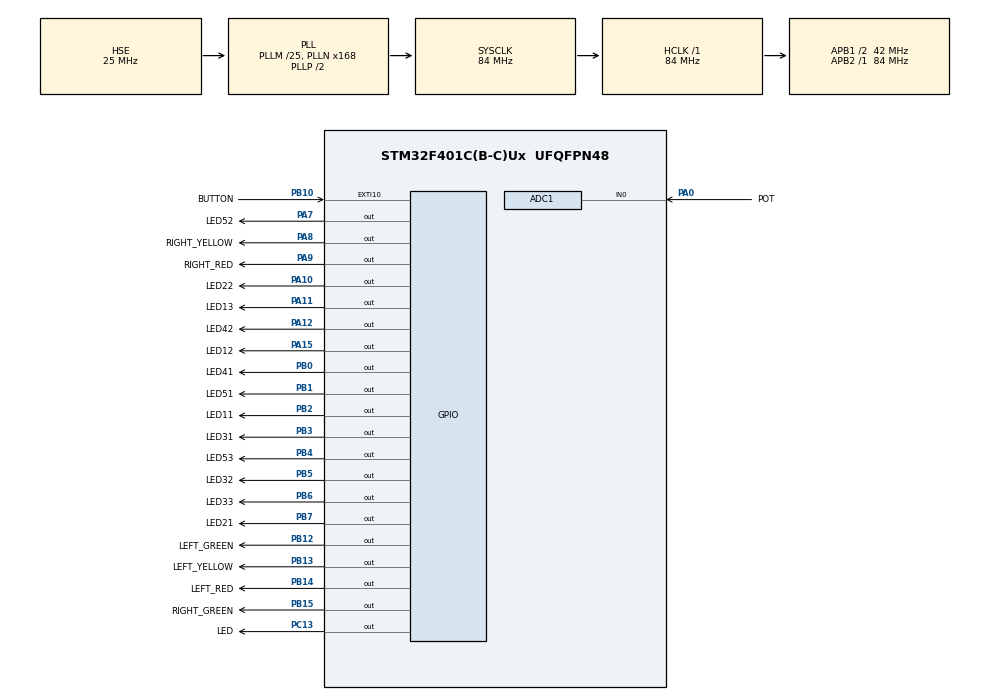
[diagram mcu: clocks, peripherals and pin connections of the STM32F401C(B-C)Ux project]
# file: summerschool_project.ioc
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ADC1.Channel-0\#ChannelRegularConversion=ADC_CHANNEL_0
ADC1.ContinuousConvMode=ENABLE
ADC1.NbrOfConversionFlag=1
ADC1.Rank-0\#ChannelRegularConversion=1
ADC1.SamplingTime-0\#ChannelRegularConversion=ADC_SAMPLETIME_3CYCLES
ADC1.master=1
Mcu.Family=STM32F4
Mcu.Name=STM32F401C(B-C)Ux
Mcu.Package=UFQFPN48
NVIC.EXTI15_10_IRQn=true\:0\:0\:false\:false\:true\:true\:true\:true
NVIC.PriorityGroup=NVIC_PRIORITYGROUP_4
NVIC.TIM1_BRK_TIM9_IRQn=true\:0\:0\:false\:false\:true\:true\:true\:true
PA0-WKUP.GPIO_Label=POT
PA0-WKUP.Signal=ADCx_IN0
PA10.GPIO_Label=LED22
PA10.PinState=GPIO_PIN_SET
PA10.Signal=GPIO_Output
PA11.GPIO_Label=LED13
PA11.PinState=GPIO_PIN_SET
PA11.Signal=GPIO_Output
PA12.GPIO_Label=LED42
PA12.PinState=GPIO_PIN_SET
PA12.Signal=GPIO_Output
PA15.GPIO_Label=LED12
PA15.PinState=GPIO_PIN_SET
PA15.Signal=GPIO_Output
PA7.GPIO_Label=LED52
PA7.PinState=GPIO_PIN_SET
PA7.Signal=GPIO_Output
PA8.GPIO_Label=RIGHT_YELLOW
PA8.PinState=GPIO_PIN_SET
PA8.Signal=GPIO_Output
PA9.GPIO_Label=RIGHT_RED
PA9.PinState=GPIO_PIN_SET
PA9.Signal=GPIO_Output
PB0.GPIO_Label=LED41
PB0.PinState=GPIO_PIN_SET
PB0.Signal=GPIO_Output
PB1.GPIO_Label=LED51
PB1.PinState=GPIO_PIN_SET
PB1.Signal=GPIO_Output
PB10.GPIO_Label=BUTTON
PB10.GPIO_ModeDefaultEXTI=GPIO_MODE_IT_RISING
PB10.Signal=GPXTI10
PB12.GPIO_Label=LEFT_GREEN
PB12.PinState=GPIO_PIN_SET
PB12.Signal=GPIO_Output
PB13.GPIO_Label=LEFT_YELLOW
PB13.PinState=GPIO_PIN_SET
PB13.Signal=GPIO_Output
PB14.GPIO_Label=LEFT_RED
PB14.PinState=GPIO_PIN_SET
PB14.Signal=GPIO_Output
PB15.GPIO_Label=RIGHT_GREEN
PB15.PinState=GPIO_PIN_SET
PB15.Signal=GPIO_Output
PB2.GPIO_Label=LED11
PB2.PinState=GPIO_PIN_SET
PB2.Signal=GPIO_Output
PB3.GPIO_Label=LED31
PB3.PinState=GPIO_PIN_SET
PB3.Signal=GPIO_Output
PB4.GPIO_Label=LED53
PB4.PinState=GPIO_PIN_SET
PB4.Signal=GPIO_Output
PB5.GPIO_Label=LED32
PB5.PinState=GPIO_PIN_SET
PB5.Signal=GPIO_Output
PB6.GPIO_Label=LED33
PB6.PinState=GPIO_PIN_SET
PB6.Signal=GPIO_Output
PB7.GPIO_Label=LED21
PB7.PinState=GPIO_PIN_SET
PB7.Signal=GPIO_Output
PC13-ANTI_TAMP.GPIO_Label=LED
PC13-ANTI_TAMP.PinState=GPIO_PIN_SET
PC13-ANTI_TAMP.Signal=GPIO_Output
PH0\ -\ OSC_IN.Mode=HSE-External-Oscillator
PH0\ -\ OSC_IN.Signal=RCC_OSC_IN
PH1\ -\ OSC_OUT.Mode=HSE-External-Oscillator
PH1\ -\ OSC_OUT.Signal=RCC_OSC_OUT
ProjectManager.HeapSize=0x200
ProjectManager.StackSize=0x400
ProjectManager.TargetToolchain=STM32CubeIDE
RCC.48MHZClocksFreq_Value=42000000
RCC.AHBFreq_Value=84000000
RCC.APB1CLKDivider=RCC_HCLK_DIV2
RCC.APB1Freq_Value=42000000
RCC.APB1TimFreq_Value=84000000
RCC.APB2Freq_Value=84000000
RCC.APB2TimFreq_Value=84000000
RCC.CortexFreq_Value=84000000
RCC.HCLKFreq_Value=84000000
RCC.HSE_VALUE=25000000
RCC.HSI_VALUE=16000000
RCC.LSE_VALUE=32768
RCC.PLLM=25
RCC.PLLN=168
RCC.PLLSourceVirtual=RCC_PLLSOURCE_HSE
RCC.SYSCLKFreq_VALUE=84000000
RCC.SYSCLKSource=RCC_SYSCLKSOURCE_PLLCLK
RCC.VCOOutputFreq_Value=168000000
SH.ADCx_IN0.0=ADC1_IN0,IN0
TIM9.AutoReloadPreload=TIM_AUTORELOAD_PRELOAD_ENABLE
TIM9.Period=500
TIM9.Prescaler=83
VP_TIM9_VS_ClockSourceINT.Mode=Internal
board=custom

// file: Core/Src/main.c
/* USER CODE BEGIN Header */
/**
  ******************************************************************************
  * @file           : main.c
  * @brief          : Main program body
  ******************************************************************************
  * @attention
  *
  * Copyright (c) 2022 STMicroelectronics.
  * All rights reserved.
  *
  * This software is licensed under terms that can be found in the LICENSE file
  * in the root directory of this software component.
  * If no LICENSE file comes with this software, it is provided AS-IS.
  *
  ******************************************************************************
  */
/* USER CODE END Header */
#include "main.h"

ADC_HandleTypeDef hadc1;

TIM_HandleTypeDef htim9;

void SystemClock_Config(void);
static void MX_GPIO_Init(void);
static void MX_ADC1_Init(void);
static void MX_TIM9_Init(void);

/* USER CODE BEGIN 0 */
void zero(){
	HAL_GPIO_WritePin(LED11_GPIO_Port, LED11_Pin, GPIO_PIN_RESET);
	HAL_GPIO_WritePin(LED12_GPIO_Port, LED12_Pin, GPIO_PIN_RESET);
	HAL_GPIO_WritePin(LED13_GPIO_Port, LED13_Pin, GPIO_PIN_RESET);
	HAL_GPIO_WritePin(LED21_GPIO_Port, LED21_Pin, GPIO_PIN_RESET);
	HAL_GPIO_WritePin(LED22_GPIO_Port, LED22_Pin, GPIO_PIN_RESET);
	HAL_GPIO_WritePin(LED31_GPIO_Port, LED31_Pin, GPIO_PIN_RESET);
	HAL_GPIO_WritePin(LED33_GPIO_Port, LED33_Pin, GPIO_PIN_RESET);
	HAL_GPIO_WritePin(LED41_GPIO_Port, LED41_Pin, GPIO_PIN_RESET);
	HAL_GPIO_WritePin(LED42_GPIO_Port, LED42_Pin, GPIO_PIN_RESET);
	HAL_GPIO_WritePin(LED51_GPIO_Port, LED51_Pin, GPIO_PIN_RESET);
	HAL_GPIO_WritePin(LED52_GPIO_Port, LED52_Pin, GPIO_PIN_RESET);
	HAL_GPIO_WritePin(LED53_GPIO_Port, LED53_Pin, GPIO_PIN_RESET);
	HAL_Delay(2000);
	HAL_GPIO_WritePin(LED11_GPIO_Port, LED11_Pin, GPIO_PIN_SET);
	HAL_GPIO_WritePin(LED12_GPIO_Port, LED12_Pin, GPIO_PIN_SET);
	HAL_GPIO_WritePin(LED13_GPIO_Port, LED13_Pin, GPIO_PIN_SET);
	HAL_GPIO_WritePin(LED21_GPIO_Port, LED21_Pin, GPIO_PIN_SET);
	HAL_GPIO_WritePin(LED22_GPIO_Port, LED22_Pin, GPIO_PIN_SET);
	HAL_GPIO_WritePin(LED31_GPIO_Port, LED31_Pin, GPIO_PIN_SET);
	HAL_GPIO_WritePin(LED33_GPIO_Port, LED33_Pin, GPIO_PIN_SET);
	HAL_GPIO_WritePin(LED41_GPIO_Port, LED41_Pin, GPIO_PIN_SET);
	HAL_GPIO_WritePin(LED42_GPIO_Port, LED42_Pin, GPIO_PIN_SET);
	HAL_GPIO_WritePin(LED51_GPIO_Port, LED51_Pin, GPIO_PIN_SET);
	HAL_GPIO_WritePin(LED52_GPIO_Port, LED52_Pin, GPIO_PIN_SET);
	HAL_GPIO_WritePin(LED53_GPIO_Port, LED53_Pin, GPIO_PIN_SET);
}
void one(){
	HAL_GPIO_WritePin(LED13_GPIO_Port, LED13_Pin, GPIO_PIN_RESET);
	HAL_GPIO_WritePin(LED13_GPIO_Port, LED22_Pin, GPIO_PIN_RESET);
	HAL_GPIO_WritePin(LED33_GPIO_Port, LED33_Pin, GPIO_PIN_RESET);
	HAL_GPIO_WritePin(LED42_GPIO_Port, LED42_Pin, GPIO_PIN_RESET);
	HAL_GPIO_WritePin(LED53_GPIO_Port, LED53_Pin, GPIO_PIN_RESET);
	HAL_Delay(2000);
	HAL_GPIO_WritePin(LED13_GPIO_Port, LED13_Pin, GPIO_PIN_SET);
	HAL_GPIO_WritePin(LED13_GPIO_Port, LED22_Pin, GPIO_PIN_SET);
	HAL_GPIO_WritePin(LED33_GPIO_Port, LED33_Pin, GPIO_PIN_SET);
	HAL_GPIO_WritePin(LED42_GPIO_Port, LED42_Pin, GPIO_PIN_SET);
	HAL_GPIO_WritePin(LED53_GPIO_Port, LED53_Pin, GPIO_PIN_SET);
}
void two(){
	HAL_GPIO_WritePin(LED11_GPIO_Port, LED11_Pin, GPIO_PIN_RESET);
	HAL_GPIO_WritePin(LED12_GPIO_Port, LED12_Pin, GPIO_PIN_RESET);
	HAL_GPIO_WritePin(LED13_GPIO_Port, LED13_Pin, GPIO_PIN_RESET);
	HAL_GPIO_WritePin(LED22_GPIO_Port, LED22_Pin, GPIO_PIN_RESET);
	HAL_GPIO_WritePin(LED31_GPIO_Port, LED31_Pin, GPIO_PIN_RESET);
	HAL_GPIO_WritePin(LED32_GPIO_Port, LED32_Pin, GPIO_PIN_RESET);
	HAL_GPIO_WritePin(LED33_GPIO_Port, LED33_Pin, GPIO_PIN_RESET);
	HAL_GPIO_WritePin(LED41_GPIO_Port, LED41_Pin, GPIO_PIN_RESET);
	HAL_GPIO_WritePin(LED51_GPIO_Port, LED51_Pin, GPIO_PIN_RESET);
	HAL_GPIO_WritePin(LED52_GPIO_Port, LED52_Pin, GPIO_PIN_RESET);
	HAL_GPIO_WritePin(LED53_GPIO_Port, LED53_Pin, GPIO_PIN_RESET);
	HAL_Delay(2000);
	HAL_GPIO_WritePin(LED11_GPIO_Port, LED11_Pin, GPIO_PIN_SET);
	HAL_GPIO_WritePin(LED12_GPIO_Port, LED12_Pin, GPIO_PIN_SET);
	HAL_GPIO_WritePin(LED13_GPIO_Port, LED13_Pin, GPIO_PIN_SET);
	HAL_GPIO_WritePin(LED22_GPIO_Port, LED22_Pin, GPIO_PIN_SET);
	HAL_GPIO_WritePin(LED31_GPIO_Port, LED31_Pin, GPIO_PIN_SET);
	HAL_GPIO_WritePin(LED32_GPIO_Port, LED32_Pin, GPIO_PIN_SET);
	HAL_GPIO_WritePin(LED33_GPIO_Port, LED33_Pin, GPIO_PIN_SET);
	HAL_GPIO_WritePin(LED41_GPIO_Port, LED41_Pin, GPIO_PIN_SET);
	HAL_GPIO_WritePin(LED51_GPIO_Port, LED51_Pin, GPIO_PIN_SET);
	HAL_GPIO_WritePin(LED52_GPIO_Port, LED52_Pin, GPIO_PIN_SET);
	HAL_GPIO_WritePin(LED53_GPIO_Port, LED53_Pin, GPIO_PIN_SET);
}
void tree(){
	HAL_GPIO_WritePin(LED11_GPIO_Port, LED11_Pin, GPIO_PIN_RESET);
	HAL_GPIO_WritePin(LED12_GPIO_Port, LED12_Pin, GPIO_PIN_RESET);
	HAL_GPIO_WritePin(LED13_GPIO_Port, LED13_Pin, GPIO_PIN_RESET);
	HAL_GPIO_WritePin(LED22_GPIO_Port, LED22_Pin, GPIO_PIN_RESET);
	HAL_GPIO_WritePin(LED31_GPIO_Port, LED31_Pin, GPIO_PIN_RESET);
	HAL_GPIO_WritePin(LED32_GPIO_Port, LED32_Pin, GPIO_PIN_RESET);
	HAL_GPIO_WritePin(LED33_GPIO_Port, LED33_Pin, GPIO_PIN_RESET);
	HAL_GPIO_WritePin(LED42_GPIO_Port, LED42_Pin, GPIO_PIN_RESET);
	HAL_GPIO_WritePin(LED51_GPIO_Port, LED51_Pin, GPIO_PIN_RESET);
	HAL_GPIO_WritePin(LED52_GPIO_Port, LED52_Pin, GPIO_PIN_RESET);
	HAL_GPIO_WritePin(LED53_GPIO_Port, LED53_Pin, GPIO_PIN_RESET);
	HAL_Delay(2000);
	HAL_GPIO_WritePin(LED11_GPIO_Port, LED11_Pin, GPIO_PIN_SET);
	HAL_GPIO_WritePin(LED12_GPIO_Port, LED12_Pin, GPIO_PIN_SET);
	HAL_GPIO_WritePin(LED13_GPIO_Port, LED13_Pin, GPIO_PIN_SET);
	HAL_GPIO_WritePin(LED22_GPIO_Port, LED22_Pin, GPIO_PIN_SET);
	HAL_GPIO_WritePin(LED31_GPIO_Port, LED31_Pin, GPIO_PIN_SET);
	HAL_GPIO_WritePin(LED32_GPIO_Port, LED32_Pin, GPIO_PIN_SET);
	HAL_GPIO_WritePin(LED33_GPIO_Port, LED33_Pin, GPIO_PIN_SET);
	HAL_GPIO_WritePin(LED42_GPIO_Port, LED42_Pin, GPIO_PIN_SET);
	HAL_GPIO_WritePin(LED51_GPIO_Port, LED51_Pin, GPIO_PIN_SET);
	HAL_GPIO_WritePin(LED52_GPIO_Port, LED52_Pin, GPIO_PIN_SET);
	HAL_GPIO_WritePin(LED53_GPIO_Port, LED53_Pin, GPIO_PIN_SET);
}
void four(){
	HAL_GPIO_WritePin(LED11_GPIO_Port, LED11_Pin, GPIO_PIN_RESET);
	HAL_GPIO_WritePin(LED13_GPIO_Port, LED13_Pin, GPIO_PIN_RESET);
	HAL_GPIO_WritePin(LED21_GPIO_Port, LED21_Pin, GPIO_PIN_RESET);
	HAL_GPIO_WritePin(LED22_GPIO_Port, LED22_Pin, GPIO_PIN_RESET);
	HAL_GPIO_WritePin(LED31_GPIO_Port, LED31_Pin, GPIO_PIN_RESET);
	HAL_GPIO_WritePin(LED32_GPIO_Port, LED32_Pin, GPIO_PIN_RESET);
	HAL_GPIO_WritePin(LED33_GPIO_Port, LED33_Pin, GPIO_PIN_RESET);
	HAL_GPIO_WritePin(LED42_GPIO_Port, LED42_Pin, GPIO_PIN_RESET);
	HAL_GPIO_WritePin(LED53_GPIO_Port, LED53_Pin, GPIO_PIN_RESET);
	HAL_Delay(2000);
	HAL_GPIO_WritePin(LED11_GPIO_Port, LED11_Pin, GPIO_PIN_SET);
	HAL_GPIO_WritePin(LED13_GPIO_Port, LED13_Pin, GPIO_PIN_SET);
	HAL_GPIO_WritePin(LED21_GPIO_Port, LED21_Pin, GPIO_PIN_SET);
	HAL_GPIO_WritePin(LED22_GPIO_Port, LED22_Pin, GPIO_PIN_SET);
	HAL_GPIO_WritePin(LED31_GPIO_Port, LED31_Pin, GPIO_PIN_SET);
	HAL_GPIO_WritePin(LED32_GPIO_Port, LED32_Pin, GPIO_PIN_SET);
	HAL_GPIO_WritePin(LED33_GPIO_Port, LED33_Pin, GPIO_PIN_SET);
	HAL_GPIO_WritePin(LED42_GPIO_Port, LED42_Pin, GPIO_PIN_SET);
	HAL_GPIO_WritePin(LED53_GPIO_Port, LED53_Pin, GPIO_PIN_SET);
}
void five(){
	HAL_GPIO_WritePin(LED11_GPIO_Port, LED11_Pin, GPIO_PIN_RESET);
	HAL_GPIO_WritePin(LED12_GPIO_Port, LED12_Pin, GPIO_PIN_RESET);
	HAL_GPIO_WritePin(LED13_GPIO_Port, LED13_Pin, GPIO_PIN_RESET);
	HAL_GPIO_WritePin(LED21_GPIO_Port, LED21_Pin, GPIO_PIN_RESET);
	HAL_GPIO_WritePin(LED31_GPIO_Port, LED31_Pin, GPIO_PIN_RESET);
	HAL_GPIO_WritePin(LED32_GPIO_Port, LED32_Pin, GPIO_PIN_RESET);
	HAL_GPIO_WritePin(LED33_GPIO_Port, LED33_Pin, GPIO_PIN_RESET);
	HAL_GPIO_WritePin(LED42_GPIO_Port, LED42_Pin, GPIO_PIN_RESET);
	HAL_GPIO_WritePin(LED51_GPIO_Port, LED51_Pin, GPIO_PIN_RESET);
	HAL_GPIO_WritePin(LED52_GPIO_Port, LED52_Pin, GPIO_PIN_RESET);
	HAL_GPIO_WritePin(LED53_GPIO_Port, LED53_Pin, GPIO_PIN_RESET);
	HAL_Delay(2000);
	HAL_GPIO_WritePin(LED11_GPIO_Port, LED11_Pin, GPIO_PIN_SET);
	HAL_GPIO_WritePin(LED12_GPIO_Port, LED12_Pin, GPIO_PIN_SET);
	HAL_GPIO_WritePin(LED13_GPIO_Port, LED13_Pin, GPIO_PIN_SET);
	HAL_GPIO_WritePin(LED21_GPIO_Port, LED21_Pin, GPIO_PIN_SET);
	HAL_GPIO_WritePin(LED31_GPIO_Port, LED31_Pin, GPIO_PIN_SET);
	HAL_GPIO_WritePin(LED32_GPIO_Port, LED32_Pin, GPIO_PIN_SET);
	HAL_GPIO_WritePin(LED33_GPIO_Port, LED33_Pin, GPIO_PIN_SET);
	HAL_GPIO_WritePin(LED42_GPIO_Port, LED42_Pin, GPIO_PIN_SET);
	HAL_GPIO_WritePin(LED51_GPIO_Port, LED51_Pin, GPIO_PIN_SET);
	HAL_GPIO_WritePin(LED52_GPIO_Port, LED52_Pin, GPIO_PIN_SET);
	HAL_GPIO_WritePin(LED53_GPIO_Port, LED53_Pin, GPIO_PIN_SET);
}
void six(){
	HAL_GPIO_WritePin(LED11_GPIO_Port, LED11_Pin, GPIO_PIN_RESET);
	HAL_GPIO_WritePin(LED12_GPIO_Port, LED12_Pin, GPIO_PIN_RESET);
	HAL_GPIO_WritePin(LED13_GPIO_Port, LED13_Pin, GPIO_PIN_RESET);
	HAL_GPIO_WritePin(LED21_GPIO_Port, LED21_Pin, GPIO_PIN_RESET);
	HAL_GPIO_WritePin(LED31_GPIO_Port, LED31_Pin, GPIO_PIN_RESET);
	HAL_GPIO_WritePin(LED32_GPIO_Port, LED32_Pin, GPIO_PIN_RESET);
	HAL_GPIO_WritePin(LED33_GPIO_Port, LED33_Pin, GPIO_PIN_RESET);
	HAL_GPIO_WritePin(LED41_GPIO_Port, LED41_Pin, GPIO_PIN_RESET);
	HAL_GPIO_WritePin(LED42_GPIO_Port, LED42_Pin, GPIO_PIN_RESET);
	HAL_GPIO_WritePin(LED51_GPIO_Port, LED51_Pin, GPIO_PIN_RESET);
	HAL_GPIO_WritePin(LED52_GPIO_Port, LED52_Pin, GPIO_PIN_RESET);
	HAL_GPIO_WritePin(LED53_GPIO_Port, LED53_Pin, GPIO_PIN_RESET);
	HAL_Delay(2000);
	HAL_GPIO_WritePin(LED11_GPIO_Port, LED11_Pin, GPIO_PIN_SET);
	HAL_GPIO_WritePin(LED12_GPIO_Port, LED12_Pin, GPIO_PIN_SET);
	HAL_GPIO_WritePin(LED13_GPIO_Port, LED13_Pin, GPIO_PIN_SET);
	HAL_GPIO_WritePin(LED21_GPIO_Port, LED21_Pin, GPIO_PIN_SET);
	HAL_GPIO_WritePin(LED31_GPIO_Port, LED31_Pin, GPIO_PIN_SET);
	HAL_GPIO_WritePin(LED32_GPIO_Port, LED32_Pin, GPIO_PIN_SET);
	HAL_GPIO_WritePin(LED33_GPIO_Port, LED33_Pin, GPIO_PIN_SET);
	HAL_GPIO_WritePin(LED41_GPIO_Port, LED41_Pin, GPIO_PIN_SET);
	HAL_GPIO_WritePin(LED42_GPIO_Port, LED42_Pin, GPIO_PIN_SET);
	HAL_GPIO_WritePin(LED51_GPIO_Port, LED51_Pin, GPIO_PIN_SET);
	HAL_GPIO_WritePin(LED52_GPIO_Port, LED52_Pin, GPIO_PIN_SET);
	HAL_GPIO_WritePin(LED53_GPIO_Port, LED53_Pin, GPIO_PIN_SET);
}
void seven(){
	HAL_GPIO_WritePin(LED11_GPIO_Port, LED11_Pin, GPIO_PIN_RESET);
		HAL_GPIO_WritePin(LED12_GPIO_Port, LED12_Pin, GPIO_PIN_RESET);
		HAL_GPIO_WritePin(LED13_GPIO_Port, LED13_Pin, GPIO_PIN_RESET);
		HAL_GPIO_WritePin(LED22_GPIO_Port, LED22_Pin, GPIO_PIN_RESET);
		HAL_GPIO_WritePin(LED31_GPIO_Port, LED31_Pin, GPIO_PIN_RESET);
		HAL_GPIO_WritePin(LED32_GPIO_Port, LED32_Pin, GPIO_PIN_RESET);
		HAL_GPIO_WritePin(LED33_GPIO_Port, LED33_Pin, GPIO_PIN_RESET);
		HAL_GPIO_WritePin(LED42_GPIO_Port, LED42_Pin, GPIO_PIN_RESET);
		HAL_GPIO_WritePin(LED53_GPIO_Port, LED53_Pin, GPIO_PIN_RESET);
		HAL_Delay(2000);
		HAL_GPIO_WritePin(LED11_GPIO_Port, LED11_Pin, GPIO_PIN_SET);
		HAL_GPIO_WritePin(LED12_GPIO_Port, LED12_Pin, GPIO_PIN_SET);
		HAL_GPIO_WritePin(LED13_GPIO_Port, LED13_Pin, GPIO_PIN_SET);
		HAL_GPIO_WritePin(LED22_GPIO_Port, LED22_Pin, GPIO_PIN_SET);
		HAL_GPIO_WritePin(LED31_GPIO_Port, LED31_Pin, GPIO_PIN_SET);
		HAL_GPIO_WritePin(LED32_GPIO_Port, LED32_Pin, GPIO_PIN_SET);
		HAL_GPIO_WritePin(LED33_GPIO_Port, LED33_Pin, GPIO_PIN_SET);
		HAL_GPIO_WritePin(LED42_GPIO_Port, LED42_Pin, GPIO_PIN_SET);
		HAL_GPIO_WritePin(LED53_GPIO_Port, LED53_Pin, GPIO_PIN_SET);
}
void eight(){
	HAL_GPIO_WritePin(LED11_GPIO_Port, LED11_Pin, GPIO_PIN_RESET);
	HAL_GPIO_WritePin(LED12_GPIO_Port, LED12_Pin, GPIO_PIN_RESET);
	HAL_GPIO_WritePin(LED13_GPIO_Port, LED13_Pin, GPIO_PIN_RESET);
	HAL_GPIO_WritePin(LED21_GPIO_Port, LED21_Pin, GPIO_PIN_RESET);
	HAL_GPIO_WritePin(LED22_GPIO_Port, LED22_Pin, GPIO_PIN_RESET);
	HAL_GPIO_WritePin(LED31_GPIO_Port, LED31_Pin, GPIO_PIN_RESET);
	HAL_GPIO_WritePin(LED32_GPIO_Port, LED32_Pin, GPIO_PIN_RESET);
	HAL_GPIO_WritePin(LED33_GPIO_Port, LED33_Pin, GPIO_PIN_RESET);
	HAL_GPIO_WritePin(LED41_GPIO_Port, LED41_Pin, GPIO_PIN_RESET);
	HAL_GPIO_WritePin(LED42_GPIO_Port, LED42_Pin, GPIO_PIN_RESET);
	HAL_GPIO_WritePin(LED51_GPIO_Port, LED51_Pin, GPIO_PIN_RESET);
	HAL_GPIO_WritePin(LED52_GPIO_Port, LED52_Pin, GPIO_PIN_RESET);
	HAL_GPIO_WritePin(LED53_GPIO_Port, LED53_Pin, GPIO_PIN_RESET);
	HAL_Delay(2000);
	HAL_GPIO_WritePin(LED11_GPIO_Port, LED11_Pin, GPIO_PIN_SET);
	HAL_GPIO_WritePin(LED12_GPIO_Port, LED12_Pin, GPIO_PIN_SET);
	HAL_GPIO_WritePin(LED13_GPIO_Port, LED13_Pin, GPIO_PIN_SET);
	HAL_GPIO_WritePin(LED21_GPIO_Port, LED21_Pin, GPIO_PIN_SET);
	HAL_GPIO_WritePin(LED22_GPIO_Port, LED22_Pin, GPIO_PIN_SET);
	HAL_GPIO_WritePin(LED31_GPIO_Port, LED31_Pin, GPIO_PIN_SET);
	HAL_GPIO_WritePin(LED32_GPIO_Port, LED32_Pin, GPIO_PIN_SET);
	HAL_GPIO_WritePin(LED33_GPIO_Port, LED33_Pin, GPIO_PIN_SET);
	HAL_GPIO_WritePin(LED41_GPIO_Port, LED41_Pin, GPIO_PIN_SET);
	HAL_GPIO_WritePin(LED42_GPIO_Port, LED42_Pin, GPIO_PIN_SET);
	HAL_GPIO_WritePin(LED51_GPIO_Port, LED51_Pin, GPIO_PIN_SET);
	HAL_GPIO_WritePin(LED52_GPIO_Port, LED52_Pin, GPIO_PIN_SET);
	HAL_GPIO_WritePin(LED53_GPIO_Port, LED53_Pin, GPIO_PIN_SET);
}
void nine(){
	HAL_GPIO_WritePin(LED11_GPIO_Port, LED11_Pin, GPIO_PIN_RESET);
	HAL_GPIO_WritePin(LED12_GPIO_Port, LED12_Pin, GPIO_PIN_RESET);
	HAL_GPIO_WritePin(LED13_GPIO_Port, LED13_Pin, GPIO_PIN_RESET);
	HAL_GPIO_WritePin(LED21_GPIO_Port, LED21_Pin, GPIO_PIN_RESET);
	HAL_GPIO_WritePin(LED22_GPIO_Port, LED22_Pin, GPIO_PIN_RESET);
	HAL_GPIO_WritePin(LED31_GPIO_Port, LED31_Pin, GPIO_PIN_RESET);
	HAL_GPIO_WritePin(LED32_GPIO_Port, LED32_Pin, GPIO_PIN_RESET);
	HAL_GPIO_WritePin(LED33_GPIO_Port, LED33_Pin, GPIO_PIN_RESET);
	HAL_GPIO_WritePin(LED42_GPIO_Port, LED42_Pin, GPIO_PIN_RESET);
	HAL_GPIO_WritePin(LED51_GPIO_Port, LED51_Pin, GPIO_PIN_RESET);
	HAL_GPIO_WritePin(LED52_GPIO_Port, LED52_Pin, GPIO_PIN_RESET);
	HAL_GPIO_WritePin(LED53_GPIO_Port, LED53_Pin, GPIO_PIN_RESET);
	HAL_Delay(2000);
	HAL_GPIO_WritePin(LED11_GPIO_Port, LED11_Pin, GPIO_PIN_SET);
	HAL_GPIO_WritePin(LED12_GPIO_Port, LED12_Pin, GPIO_PIN_SET);
	HAL_GPIO_WritePin(LED13_GPIO_Port, LED13_Pin, GPIO_PIN_SET);
	HAL_GPIO_WritePin(LED21_GPIO_Port, LED21_Pin, GPIO_PIN_SET);
	HAL_GPIO_WritePin(LED22_GPIO_Port, LED22_Pin, GPIO_PIN_SET);
	HAL_GPIO_WritePin(LED31_GPIO_Port, LED31_Pin, GPIO_PIN_SET);
	HAL_GPIO_WritePin(LED32_GPIO_Port, LED32_Pin, GPIO_PIN_SET);
	HAL_GPIO_WritePin(LED33_GPIO_Port, LED33_Pin, GPIO_PIN_SET);
	HAL_GPIO_WritePin(LED42_GPIO_Port, LED42_Pin, GPIO_PIN_SET);
	HAL_GPIO_WritePin(LED51_GPIO_Port, LED51_Pin, GPIO_PIN_SET);
	HAL_GPIO_WritePin(LED52_GPIO_Port, LED52_Pin, GPIO_PIN_SET);
	HAL_GPIO_WritePin(LED53_GPIO_Port, LED53_Pin, GPIO_PIN_SET);
}
/* USER CODE END 0 */

int main(void)
{

  /* MCU Configuration--------------------------------------------------------*/

  /* Reset of all peripherals, Initializes the Flash interface and the Systick. */
  HAL_Init();

  /* Configure the system clock */
  SystemClock_Config();

  /* Initialize all configured peripherals */
  MX_GPIO_Init();
  MX_ADC1_Init();
  MX_TIM9_Init();

  /* Infinite loop */
  /* USER CODE BEGIN WHILE */
  //  RIGHT_RED  RIGHT_YELLOW    RIGHT_GREEN   LEFT_RED  LEFT_YELLOW    LEFT_GREEN  LED11
  while (1)
  {
	  if(HAL_GPIO_ReadPin(BUTTON_GPIO_Port, BUTTON_Pin) == GPIO_PIN_SET){
	        HAL_GPIO_WritePin(LEFT_RED_GPIO_Port, LEFT_RED_Pin, GPIO_PIN_RESET);
	        HAL_GPIO_WritePin(RIGHT_GREEN_GPIO_Port, RIGHT_GREEN_Pin, GPIO_PIN_RESET);
	        HAL_Delay(2000);

	        HAL_GPIO_WritePin(RIGHT_GREEN_GPIO_Port, RIGHT_GREEN_Pin, GPIO_PIN_SET);
	        HAL_GPIO_WritePin(LEFT_YELLOW_GPIO_Port, LEFT_YELLOW_Pin, GPIO_PIN_RESET);
	        HAL_GPIO_WritePin(RIGHT_YELLOW_GPIO_Port, RIGHT_YELLOW_Pin, GPIO_PIN_RESET);
	        HAL_Delay(2000);

	        HAL_GPIO_WritePin(LEFT_YELLOW_GPIO_Port, LEFT_YELLOW_Pin, GPIO_PIN_SET);
	        HAL_GPIO_WritePin(LEFT_RED_GPIO_Port, LEFT_RED_Pin, GPIO_PIN_SET);
	        HAL_GPIO_WritePin(RIGHT_YELLOW_GPIO_Port, RIGHT_YELLOW_Pin, GPIO_PIN_SET);

	        HAL_GPIO_WritePin(LEFT_GREEN_GPIO_Port, LEFT_GREEN_Pin, GPIO_PIN_RESET);
	        HAL_GPIO_WritePin(RIGHT_RED_GPIO_Port, RIGHT_RED_Pin, GPIO_PIN_RESET);
	        HAL_Delay(10000);

	        HAL_GPIO_WritePin(LEFT_GREEN_GPIO_Port, LEFT_GREEN_Pin, GPIO_PIN_SET);
	        HAL_GPIO_WritePin(LEFT_YELLOW_GPIO_Port, LEFT_YELLOW_Pin, GPIO_PIN_RESET);
	        HAL_GPIO_WritePin(RIGHT_YELLOW_GPIO_Port, RIGHT_YELLOW_Pin, GPIO_PIN_RESET);
	        HAL_Delay(4000);

	        HAL_GPIO_WritePin(RIGHT_RED_GPIO_Port, RIGHT_RED_Pin, GPIO_PIN_SET);
	        HAL_GPIO_WritePin(LEFT_YELLOW_GPIO_Port, LEFT_YELLOW_Pin, GPIO_PIN_SET);
	        HAL_GPIO_WritePin(RIGHT_YELLOW_GPIO_Port, RIGHT_YELLOW_Pin, GPIO_PIN_SET);
	      }
	      else{
	        HAL_GPIO_WritePin(LEFT_RED_GPIO_Port, LEFT_RED_Pin, GPIO_PIN_RESET);
	        HAL_GPIO_WritePin(RIGHT_GREEN_GPIO_Port, RIGHT_GREEN_Pin, GPIO_PIN_RESET);
	      }
//	  if(HAL_GPIO_ReadPin(BUTTON_GPIO_Port, BUTTON_Pin) == GPIO_PIN_SET){
//			HAL_GPIO_WritePin(LEFT_RED_GPIO_Port, LEFT_RED_Pin, GPIO_PIN_RESET);
//			HAL_GPIO_WritePin(RIGHT_GREEN_GPIO_Port, RIGHT_GREEN_Pin, GPIO_PIN_RESET);
//			nine();
//			eight();
//			seven();
//			six();
//			five();
//			four();
//			tree();
//
//			HAL_GPIO_WritePin(RIGHT_GREEN_GPIO_Port, RIGHT_GREEN_Pin, GPIO_PIN_SET);
//			HAL_GPIO_WritePin(LEFT_YELLOW_GPIO_Port, LEFT_YELLOW_Pin, GPIO_PIN_RESET);
//			HAL_GPIO_WritePin(RIGHT_YELLOW_GPIO_Port, RIGHT_YELLOW_Pin, GPIO_PIN_RESET);
//			two();
//			one();
//			zero();
//
//			HAL_GPIO_WritePin(LEFT_YELLOW_GPIO_Port, LEFT_YELLOW_Pin, GPIO_PIN_SET);
//			HAL_GPIO_WritePin(LEFT_RED_GPIO_Port, LEFT_RED_Pin, GPIO_PIN_SET);
//			HAL_GPIO_WritePin(RIGHT_YELLOW_GPIO_Port, RIGHT_YELLOW_Pin, GPIO_PIN_SET);
//
//			HAL_GPIO_WritePin(LEFT_GREEN_GPIO_Port, LEFT_GREEN_Pin, GPIO_PIN_RESET);
//			HAL_GPIO_WritePin(RIGHT_RED_GPIO_Port, RIGHT_RED_Pin, GPIO_PIN_RESET);
//			eight();
//			seven();
//			six();
//			five();
//			four();
//			tree();
//
//			HAL_GPIO_WritePin(LEFT_GREEN_GPIO_Port, LEFT_GREEN_Pin, GPIO_PIN_SET);
//			HAL_GPIO_WritePin(LEFT_YELLOW_GPIO_Port, LEFT_YELLOW_Pin, GPIO_PIN_RESET);
//			HAL_GPIO_WritePin(RIGHT_YELLOW_GPIO_Port, RIGHT_YELLOW_Pin, GPIO_PIN_RESET);
//			two();
//			one();
//			zero();
//
//			HAL_GPIO_WritePin(RIGHT_RED_GPIO_Port, RIGHT_RED_Pin, GPIO_PIN_SET);
//			HAL_GPIO_WritePin(LEFT_YELLOW_GPIO_Port, LEFT_YELLOW_Pin, GPIO_PIN_SET);
//			HAL_GPIO_WritePin(RIGHT_YELLOW_GPIO_Port, RIGHT_YELLOW_Pin, GPIO_PIN_SET);
//	  }
//	  else{
//		  //(LED_GPIO_Port, LED_Pin, GPIO_PIN_SET);
//		  HAL_GPIO_WritePin(LEFT_RED_GPIO_Port, LEFT_RED_Pin, GPIO_PIN_RESET);
//		  HAL_GPIO_WritePin(RIGHT_GREEN_GPIO_Port, RIGHT_GREEN_Pin, GPIO_PIN_RESET);
//	  }

    /* USER CODE END WHILE */

  }
}

void SystemClock_Config(void)
{
  RCC_OscInitTypeDef RCC_OscInitStruct = {0};
  RCC_ClkInitTypeDef RCC_ClkInitStruct = {0};

  /** Configure the main internal regulator output voltage
  */
  __HAL_RCC_PWR_CLK_ENABLE();
  __HAL_PWR_VOLTAGESCALING_CONFIG(PWR_REGULATOR_VOLTAGE_SCALE2);

  /** Initializes the RCC Oscillators according to the specified parameters
  * in the RCC_OscInitTypeDef structure.
  */
  RCC_OscInitStruct.OscillatorType = RCC_OSCILLATORTYPE_HSE;
  RCC_OscInitStruct.HSEState = RCC_HSE_ON;
  RCC_OscInitStruct.PLL.PLLState = RCC_PLL_ON;
  RCC_OscInitStruct.PLL.PLLSource = RCC_PLLSOURCE_HSE;
  RCC_OscInitStruct.PLL.PLLM = 25;
  RCC_OscInitStruct.PLL.PLLN = 168;
  RCC_OscInitStruct.PLL.PLLP = RCC_PLLP_DIV2;
  RCC_OscInitStruct.PLL.PLLQ = 4;
  if (HAL_RCC_OscConfig(&RCC_OscInitStruct) != HAL_OK)
  {
    Error_Handler();
  }

  /** Initializes the CPU, AHB and APB buses clocks
  */
  RCC_ClkInitStruct.ClockType = RCC_CLOCKTYPE_HCLK|RCC_CLOCKTYPE_SYSCLK
                              |RCC_CLOCKTYPE_PCLK1|RCC_CLOCKTYPE_PCLK2;
  RCC_ClkInitStruct.SYSCLKSource = RCC_SYSCLKSOURCE_PLLCLK;
  RCC_ClkInitStruct.AHBCLKDivider = RCC_SYSCLK_DIV1;
  RCC_ClkInitStruct.APB1CLKDivider = RCC_HCLK_DIV2;
  RCC_ClkInitStruct.APB2CLKDivider = RCC_HCLK_DIV1;

  if (HAL_RCC_ClockConfig(&RCC_ClkInitStruct, FLASH_LATENCY_2) != HAL_OK)
  {
    Error_Handler();
  }
}

static void MX_ADC1_Init(void)
{

  ADC_ChannelConfTypeDef sConfig = {0};

  /** Configure the global features of the ADC (Clock, Resolution, Data Alignment and number of conversion)
  */
  hadc1.Instance = ADC1;
  hadc1.Init.ClockPrescaler = ADC_CLOCK_SYNC_PCLK_DIV4;
  hadc1.Init.Resolution = ADC_RESOLUTION_12B;
  hadc1.Init.ScanConvMode = DISABLE;
  hadc1.Init.ContinuousConvMode = ENABLE;
  hadc1.Init.DiscontinuousConvMode = DISABLE;
  hadc1.Init.ExternalTrigConvEdge = ADC_EXTERNALTRIGCONVEDGE_NONE;
  hadc1.Init.ExternalTrigConv = ADC_SOFTWARE_START;
  hadc1.Init.DataAlign = ADC_DATAALIGN_RIGHT;
  hadc1.Init.NbrOfConversion = 1;
  hadc1.Init.DMAContinuousRequests = DISABLE;
  hadc1.Init.EOCSelection = ADC_EOC_SINGLE_CONV;
  if (HAL_ADC_Init(&hadc1) != HAL_OK)
  {
    Error_Handler();
  }

  /** Configure for the selected ADC regular channel its corresponding rank in the sequencer and its sample time.
  */
  sConfig.Channel = ADC_CHANNEL_0;
  sConfig.Rank = 1;
  sConfig.SamplingTime = ADC_SAMPLETIME_3CYCLES;
  if (HAL_ADC_ConfigChannel(&hadc1, &sConfig) != HAL_OK)
  {
    Error_Handler();
  }

}

static void MX_TIM9_Init(void)
{

  TIM_ClockConfigTypeDef sClockSourceConfig = {0};

  htim9.Instance = TIM9;
  htim9.Init.Prescaler = 83;
  htim9.Init.CounterMode = TIM_COUNTERMODE_UP;
  htim9.Init.Period = 500;
  htim9.Init.ClockDivision = TIM_CLOCKDIVISION_DIV1;
  htim9.Init.AutoReloadPreload = TIM_AUTORELOAD_PRELOAD_ENABLE;
  if (HAL_TIM_Base_Init(&htim9) != HAL_OK)
  {
    Error_Handler();
  }
  sClockSourceConfig.ClockSource = TIM_CLOCKSOURCE_INTERNAL;
  if (HAL_TIM_ConfigClockSource(&htim9, &sClockSourceConfig) != HAL_OK)
  {
    Error_Handler();
  }

}

static void MX_GPIO_Init(void)
{
  GPIO_InitTypeDef GPIO_InitStruct = {0};

  /* GPIO Ports Clock Enable */
  __HAL_RCC_GPIOC_CLK_ENABLE();
  __HAL_RCC_GPIOH_CLK_ENABLE();
  __HAL_RCC_GPIOA_CLK_ENABLE();
  __HAL_RCC_GPIOB_CLK_ENABLE();

  /*Configure GPIO pin Output Level */
  HAL_GPIO_WritePin(LED_GPIO_Port, LED_Pin, GPIO_PIN_SET);

  /*Configure GPIO pin Output Level */
  HAL_GPIO_WritePin(GPIOA, LED52_Pin|RIGHT_YELLOW_Pin|RIGHT_RED_Pin|LED22_Pin
                          |LED13_Pin|LED42_Pin|LED12_Pin, GPIO_PIN_SET);

  /*Configure GPIO pin Output Level */
  HAL_GPIO_WritePin(GPIOB, LED41_Pin|LED51_Pin|LED11_Pin|LEFT_GREEN_Pin
                          |LEFT_YELLOW_Pin|LEFT_RED_Pin|RIGHT_GREEN_Pin|LED31_Pin
                          |LED53_Pin|LED32_Pin|LED33_Pin|LED21_Pin, GPIO_PIN_SET);

  /*Configure GPIO pin : LED_Pin */
  GPIO_InitStruct.Pin = LED_Pin;
  GPIO_InitStruct.Mode = GPIO_MODE_OUTPUT_PP;
  GPIO_InitStruct.Pull = GPIO_NOPULL;
  GPIO_InitStruct.Speed = GPIO_SPEED_FREQ_LOW;
  HAL_GPIO_Init(LED_GPIO_Port, &GPIO_InitStruct);

  /*Configure GPIO pins : LED52_Pin RIGHT_YELLOW_Pin RIGHT_RED_Pin LED22_Pin
                           LED13_Pin LED42_Pin LED12_Pin */
  GPIO_InitStruct.Pin = LED52_Pin|RIGHT_YELLOW_Pin|RIGHT_RED_Pin|LED22_Pin
                          |LED13_Pin|LED42_Pin|LED12_Pin;
  GPIO_InitStruct.Mode = GPIO_MODE_OUTPUT_PP;
  GPIO_InitStruct.Pull = GPIO_NOPULL;
  GPIO_InitStruct.Speed = GPIO_SPEED_FREQ_LOW;
  HAL_GPIO_Init(GPIOA, &GPIO_InitStruct);

  /*Configure GPIO pins : LED41_Pin LED51_Pin LED11_Pin LEFT_GREEN_Pin
                           LEFT_YELLOW_Pin LEFT_RED_Pin RIGHT_GREEN_Pin LED31_Pin
                           LED53_Pin LED32_Pin LED33_Pin LED21_Pin */
  GPIO_InitStruct.Pin = LED41_Pin|LED51_Pin|LED11_Pin|LEFT_GREEN_Pin
                          |LEFT_YELLOW_Pin|LEFT_RED_Pin|RIGHT_GREEN_Pin|LED31_Pin
                          |LED53_Pin|LED32_Pin|LED33_Pin|LED21_Pin;
  GPIO_InitStruct.Mode = GPIO_MODE_OUTPUT_PP;
  GPIO_InitStruct.Pull = GPIO_NOPULL;
  GPIO_InitStruct.Speed = GPIO_SPEED_FREQ_LOW;
  HAL_GPIO_Init(GPIOB, &GPIO_InitStruct);

  /*Configure GPIO pin : BUTTON_Pin */
  GPIO_InitStruct.Pin = BUTTON_Pin;
  GPIO_InitStruct.Mode = GPIO_MODE_IT_RISING;
  GPIO_InitStruct.Pull = GPIO_NOPULL;
  HAL_GPIO_Init(BUTTON_GPIO_Port, &GPIO_InitStruct);

  /* EXTI interrupt init*/
  HAL_NVIC_SetPriority(EXTI15_10_IRQn, 0, 0);
  HAL_NVIC_EnableIRQ(EXTI15_10_IRQn);

}

/* USER CODE BEGIN 4 */
void HAL_GPIO_EXTI_Callback(uint16_t GPIO_Pin){
//	HAL_GPIO_WritePin(LED_GPIO_Port, LED_Pin, GPIO_PIN_SET);
}
/* USER CODE END 4 */

void Error_Handler(void)
{
  __disable_irq();
  while (1)
  {
  }
}
